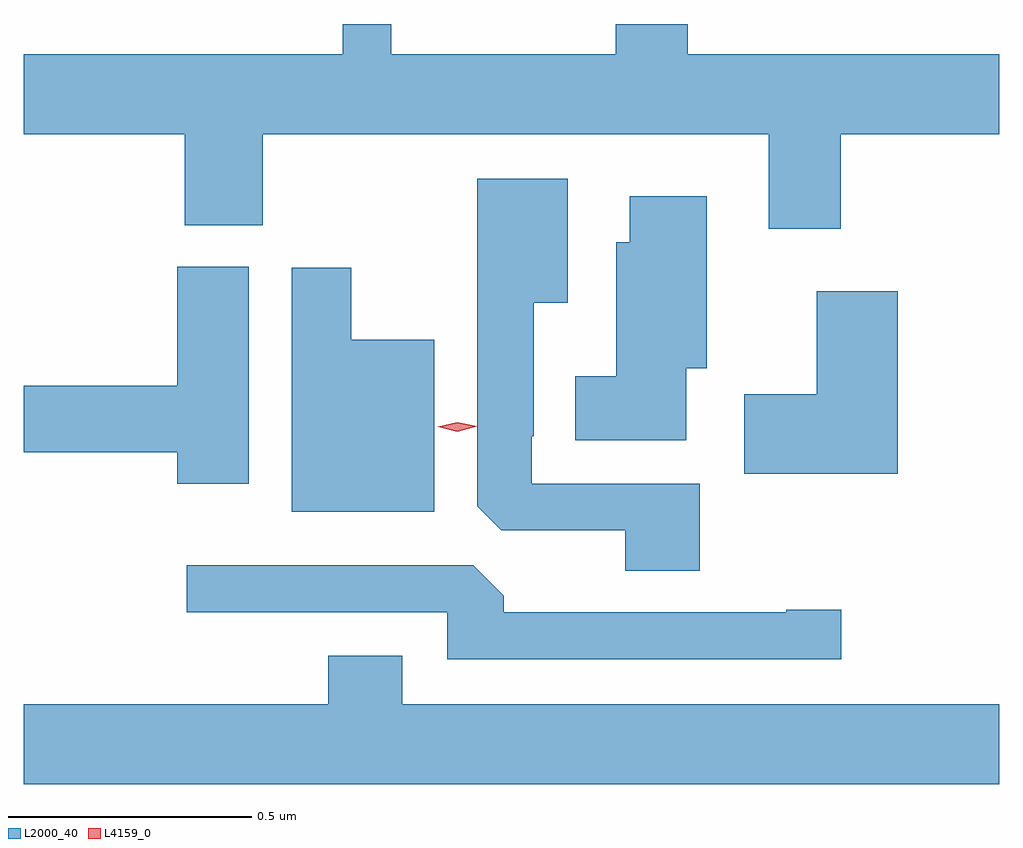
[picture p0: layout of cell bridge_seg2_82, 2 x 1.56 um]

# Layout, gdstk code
import gdstk
lib = gdstk.Library(unit=1e-6, precision=1e-09)
def P(c, l, *ps):  # polygons
    for p in ps: c.add(gdstk.Polygon(p, *l))
L2000_40 = (2000, 40)
L4159_0 = (4159, 0)

bridge_seg2_82 = lib.new_cell('bridge_seg2_82')
P(bridge_seg2_82, L2000_40, [(331.212,639.644),(331.537,639.644),(331.537,639.808),(330.898,639.808),(330.898,639.87),(330.751,639.87),(330.751,639.808),(330.29,639.808),(330.29,639.87),(330.191,639.87),(330.191,639.808),(329.537,639.808),(329.537,639.644),(329.867,639.644),(329.867,639.457),(330.027,639.457),(330.027,639.644),(331.064,639.644),(331.064,639.45),(331.212,639.45)],
  [(330.923,638.928),(330.579,638.928),(330.579,639.025),(330.583,639.025),(330.583,639.299),(330.652,639.299),(330.652,639.553),(330.467,639.553),(330.467,638.881),(330.516,638.832),(330.77,638.832),(330.77,638.749),(330.923,638.749)],
  [(330.895,639.164),(330.937,639.164),(330.937,639.517),(330.779,639.517),(330.779,639.423),(330.752,639.423),(330.752,639.148),(330.668,639.148),(330.668,639.017),(330.895,639.017)],
  [(329.998,639.372),(329.852,639.372),(329.852,639.128),(329.537,639.128),(329.537,638.992),(329.852,638.992),(329.852,638.928),(329.998,638.928)],
  [(330.379,639.223),(330.208,639.223),(330.208,639.37),(330.086,639.37),(330.086,638.87),(330.379,638.87)],
  [(331.329,639.322),(331.163,639.322),(331.163,639.111),(331.014,639.111),(331.014,638.948),(331.329,638.948)],
  [(331.213,638.669),(331.1,638.669),(331.1,638.664),(330.521,638.664),(330.521,638.698),(330.459,638.76),(329.871,638.76),(329.871,638.664),(330.405,638.664),(330.405,638.568),(331.213,638.568)],
  [(331.537,638.476),(330.313,638.476),(330.313,638.575),(330.161,638.575),(330.161,638.476),(329.537,638.476),(329.537,638.312),(331.537,638.312)])
P(bridge_seg2_82, L4159_0, [(330.426,639.034),(330.386,639.044),(330.386,639.044),(330.386,639.044),(330.426,639.054),(330.467,639.045),(330.467,639.045),(330.467,639.045)])

lib.write_gds('bridge_seg2_82.gds')
